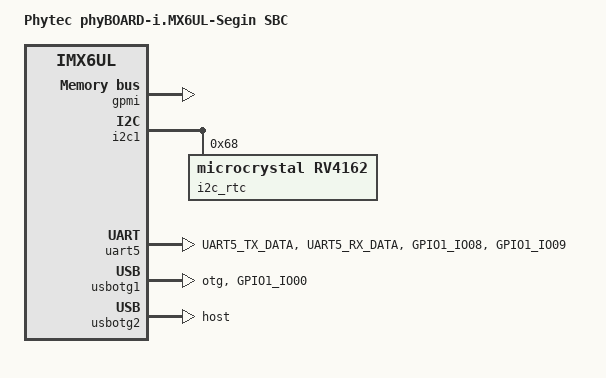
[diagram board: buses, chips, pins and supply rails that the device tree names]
// SPDX-License-Identifier: GPL-2.0+
/*
 * Copyright (C) 2018 Collabora Ltd.
 *
 * Based on dts[i] from Phytec barebox port:
 * Copyright (C) 2016 PHYTEC Messtechnik GmbH
 * Author: Christian Hemp <c.hemp@phytec.de>
 *
 * The code contained herein is licensed under the GNU General Public
 * License. You may obtain a copy of the GNU General Public License
 * Version 2 or later at the following locations:
 *
 * http://www.opensource.org/licenses/gpl-license.html
 * http://www.gnu.org/copyleft/gpl.html
 */

/dts-v1/;

#include "imx6ul.dtsi"
#include "pcl063-common.dtsi"

/ {
	model = "Phytec phyBOARD-i.MX6UL-Segin SBC";
	compatible = "phytec,phyboard-imx6ul-segin", "phytec,imx6ul-pcl063",
		     "fsl,imx6ul";
};

&gpmi {
	status = "okay";
};

&i2c1 {
	i2c_rtc: rtc@68 {
		compatible = "microcrystal,rv4162";
		reg = <0x68>;
		status = "okay";
	};
};

&uart5 {
	pinctrl-names = "default";
	pinctrl-0 = <&pinctrl_uart5>;
	uart-has-rtscts;
	status = "okay";
};

&usbotg1 {
	pinctrl-names = "default";
	pinctrl-0 = <&pinctrl_usb_otg1_id>;
	dr_mode = "otg";
	srp-disable;
	hnp-disable;
	adp-disable;
	status = "okay";
};

&usbotg2 {
	dr_mode = "host";
	disable-over-current;
	status = "okay";
};

&iomuxc {
	pinctrl-names = "default";

	pinctrl_uart5: uart5grp {
		fsl,pins = <
			MX6UL_PAD_UART5_TX_DATA__UART5_DCE_TX	0x1b0b1
			MX6UL_PAD_UART5_RX_DATA__UART5_DCE_RX	0x1b0b1
			MX6UL_PAD_GPIO1_IO08__UART5_DCE_RTS	0x1b0b1
			MX6UL_PAD_GPIO1_IO09__UART5_DCE_CTS	0x1b0b1
		>;
	};

	pinctrl_usb_otg1_id: usbotg1idgrp {
		fsl,pins = <
			MX6UL_PAD_GPIO1_IO00__ANATOP_OTG1_ID    0x17059
		>;
	};

};
